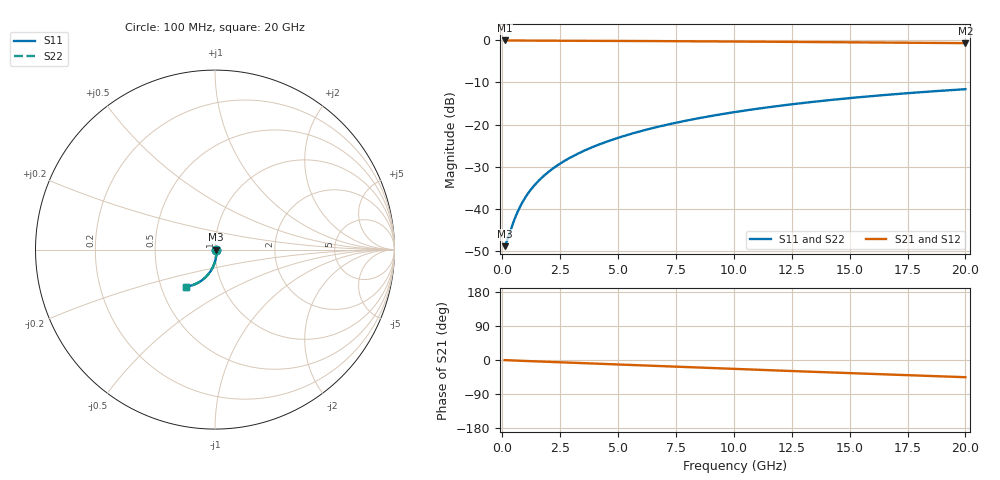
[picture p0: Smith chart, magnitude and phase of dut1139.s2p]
! Touchstone file exported from HFSS 2026.1.0
!  File:  C:/ffzhzh/LocalFiles/Ansys_Project_Files/temp_train_BSMRDL_1139_1783175433_55132.aedt
!  Generated:  10:31:52 PM Jul  4, 2026
!  Design:  BSMRDL
!  Project:  temp_train_BSMRDL_1139_1783175433_55132
! Variables:
!  h_bsmrdl = 3.17um
!  h_ox = 20um
!  h_rdl = 5um
!  h_sub = 80um
!  h_tmrdl = 5um
!  h_tsv = 80um
!  h_via = 3um
!  l_bsmrdl = 742.57um
!  l_sub = 1142.57um
!  l_tmrdl = 200um
!  m_sub = 200um
!  pitch = 27.33um
!  r_tsv = 6um
!  s_tmrdl = 10um
!  w_bsmrdl = 25.93um
!  w_sub = 500um
!  w_tmrdl = 12um
!  x_tsv_center1 = 206um
!  x_tsv_center2 = 974.5um
!  x_tsv_center3 = 1186.5um
!  x_tsv_center4 = 1955um
!  x_tsv_center5 = 2167um
!  x_tsv_center6 = 2935.5um
# GHz S MA R 50.000000
! Terminal data exported
! Port[1] = BSM_RDL1_1_T1
! Port[2] = BSM_RDL1_1_T2
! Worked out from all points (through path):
!   200 points, 100 MHz to 20 GHz, reference 50 ohm
!   highest |S21| = -0.03 dB at 100 MHz (marker M1); lowest = -0.7 dB at 20 GHz (marker M2)
!   group delay of S21, straight-line fit = 6.29 ps
!   lowest |S11| = -48.9 dB at 100 MHz (marker M3), VSWR 1.01, Z = 50.4 - j0.0368 ohm
!   |S11| at or under -10 dB: start of sweep to end of sweep
!   |S22| runs from -48.9 to -11.6 dB; largest |S21 - S12| = 3.5e-15
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0.1  0.003604 -5.8  0.9964 -0.3  0.9964 -0.3  0.003604 -5.8
! Gamma 0 0 0 0
! Port Impedance 50 0 50 0
0.2  0.004161 -12.5  0.9959 -0.6  0.9959 -0.6  0.004161 -12.5
0.5  0.007182 -33.9  0.9939 -1.4  0.9939 -1.4  0.007182 -33.9
0.7  0.009708 -44.9  0.9929 -1.9  0.9929 -1.9  0.009707 -44.9
0.8  0.01103 -49.3  0.9925 -2.1  0.9925 -2.1  0.01103 -49.3
1  0.01372 -56.3  0.9918 -2.6  0.9918 -2.6  0.01372 -56.3
1.3  0.01783 -63.9  0.9911 -3.3  0.9911 -3.3  0.01783 -63.9
1.5  0.02059 -67.6  0.9907 -3.7  0.9907 -3.7  0.02059 -67.6
1.7  0.02335 -70.6  0.9904 -4.2  0.9904 -4.2  0.02335 -70.6
2.2  0.03029 -76.2  0.9896 -5.4  0.9896 -5.4  0.03028 -76.2
2.8  0.03865 -80.8  0.9886 -6.8  0.9886 -6.8  0.03864 -80.8
3.5  0.04845 -84.7  0.9873 -8.5  0.9873 -8.5  0.04844 -84.7
4.2  0.0583 -87.8  0.9858 -10.1  0.9858 -10.1  0.0583 -87.8
5  0.06962 -90.7  0.9839 -12.0  0.9839 -12.0  0.06961 -90.7
5.9  0.0824 -93.6  0.9815 -14.1  0.9815 -14.1  0.08238 -93.7
6.8  0.09519 -96.3  0.9788 -16.2  0.9788 -16.2  0.09517 -96.3
8.4  0.1178 -100.7  0.9737 -19.9  0.9737 -19.9  0.1178 -100.7
10.1  0.1416 -105.0  0.9676 -23.7  0.9676 -23.7  0.1415 -105.1
11.7  0.1634 -109.0  0.9615 -27.3  0.9615 -27.3  0.1634 -109.0
13.4  0.1858 -113.1  0.9546 -31.1  0.9546 -31.1  0.1858 -113.1
16.7  0.2266 -120.7  0.9405 -38.3  0.9405 -38.3  0.2265 -120.8
20  0.263 -128.1  0.9258 -45.4  0.9258 -45.4  0.2629 -128.2
